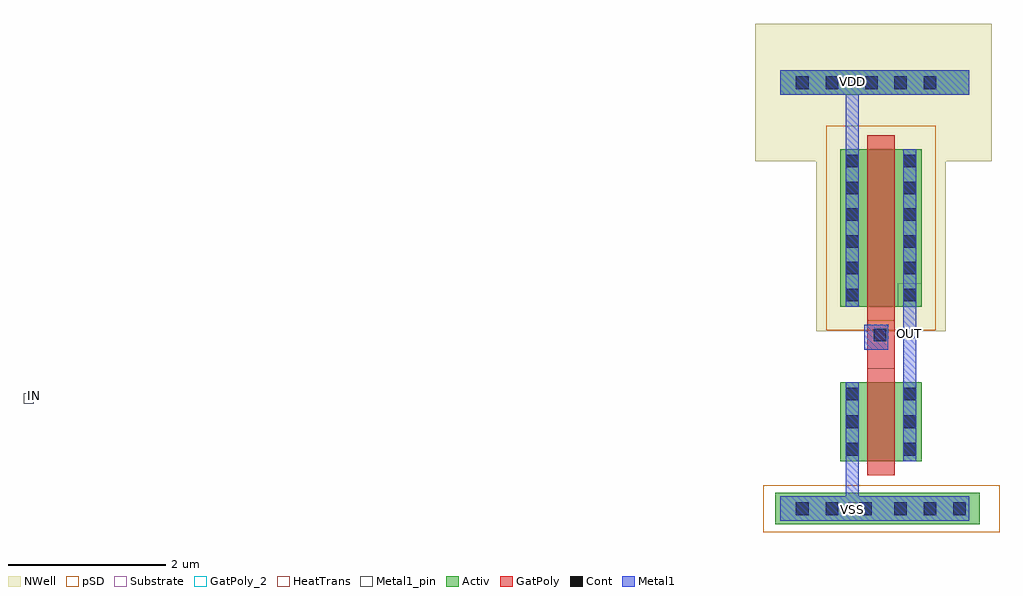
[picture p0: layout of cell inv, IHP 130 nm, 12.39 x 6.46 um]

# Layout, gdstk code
import gdstk
lib = gdstk.Library(unit=1e-6, precision=1e-09)
def R(c, l, rs):  # rectangles x0, y0, x1, y1
    for r in rs: c.add(gdstk.rectangle(r[:2], r[2:], *l))
def A(c, l, x, y, w, h, nx, ny, dx, dy):  # array of equal rectangles
    R(c, l, [(x+i*dx, y+j*dy, x+i*dx+w, y+j*dy+h) for i in range(nx) for j in range(ny)])
Activ = (1, 0)
GatPoly = (5, 0)
GatPoly_2 = (5, 2)
Cont = (6, 0)
Metal1 = (8, 0)
Metal1_pin = (8, 2)
pSD = (14, 0)
NWell = (31, 0)
Substrate = (40, 0)
HeatTrans = (51, 0)

pmos = lib.new_cell('pmos')
R(pmos, Activ, [(0,0,0.3,0.3), (0,0,1.03,2), (0.73,0,1.03,0.3)])
R(pmos, GatPoly, [(0.34,-0.18,0.69,2.18), (0.34,-0.18,0.69,2.18)])
A(pmos, Cont, 0.07, 0.07, 0.16, 0.16, 1, 6, 0, 0.34)
A(pmos, Cont, 0.8, 0.07, 0.16, 0.16, 1, 6, 0, 0.34)
R(pmos, Metal1, [(0.07,0,0.23,2), (0.07,0,0.23,2), (0.8,0,0.96,2), (0.8,0,0.96,2)])
R(pmos, pSD, [(-0.18,-0.3,1.21,2.3)])
R(pmos, NWell, [(-0.31,-0.31,1.34,2.31)])
R(pmos, Substrate, [(0.73,0,1.03,0.3)])
R(pmos, HeatTrans, [(0.34,-0.18,0.69,2.18)])
pmos.add(gdstk.Label('pmos', (0.515,1), layer=63, texttype=0))
pmos.add(gdstk.Label('pmos', (0.515,1), layer=51, texttype=0))

nmos = lib.new_cell('nmos')
R(nmos, Activ, [(0,0,0.3,0.3), (0,0,1.03,1), (0.73,0,1.03,0.3)])
R(nmos, GatPoly, [(0.34,-0.18,0.69,1.18)])
R(nmos, GatPoly_2, [(0.34,-0.18,0.69,1.18)])
A(nmos, Cont, 0.07, 0.07, 0.16, 0.16, 1, 3, 0, 0.35)
A(nmos, Cont, 0.8, 0.07, 0.16, 0.16, 1, 3, 0, 0.35)
R(nmos, Metal1, [(0.07,0,0.23,1), (0.8,0,0.96,1)])
R(nmos, Metal1_pin, [(0.07,0,0.23,1), (0.8,0,0.96,1)])
R(nmos, HeatTrans, [(0.34,-0.18,0.69,1.18)])
nmos.add(gdstk.Label('nmos', (0.515,0.5), layer=63, texttype=0))
nmos.add(gdstk.Label('nmos', (0.515,0.5), layer=51, texttype=0))

inv = lib.new_cell('inv')
R(inv, Activ, [(-1.25,1.89,1.35,2.29), (-1.185,7.345,1.215,7.66)])
R(inv, GatPoly, [(-0.08,3.8,0.27,4.435), (-0.08,4.165,0.27,4.8)])
A(inv, Cont, -0.105, 7.42, 0.16, 0.16, 3, 1, 0.37, 0)
R(inv, Cont, [(-0.985,2.01,-0.825,2.17), (-0.605,2.01,-0.445,2.17), (-0.18,2.01,-0.02,2.17), (0.265,2.01,0.425,2.17), (0.635,2.01,0.795,2.17), (1.01,2.01,1.17,2.17), (0,4.215,0.16,4.375), (-0.985,7.42,-0.825,7.58), (-0.605,7.42,-0.445,7.58)])
R(inv, Metal1, [(-1.185,1.935,1.215,2.25), (-0.35,2.11,-0.19,2.745), (0.38,3.683,0.54,4.663), (-0.12,4.11,0.19,4.425), (-0.35,6.655,-0.19,7.43), (-1.185,7.345,1.215,7.66)])
R(inv, Metal1_pin, [(-0.33,2.045,-0.2,2.175), (-10.795,3.425,-10.665,3.555), (0.395,4.255,0.525,4.385), (-0.33,7.455,-0.2,7.585)])
R(inv, pSD, [(-1.4,1.79,1.6,2.39)])
R(inv, NWell, [(-1.5,6.5,1.5,8.25)])
inv.add(gdstk.Reference(pmos, (-0.42,4.655)))
inv.add(gdstk.Reference(nmos, (-0.42,2.695)))
inv.add(gdstk.Label('IN', (-10.655,3.525), layer=8, texttype=25))
inv.add(gdstk.Label('VDD', (-0.265,7.51), layer=8, texttype=25))
inv.add(gdstk.Label('VSS', (-0.265,2.08), layer=8, texttype=25))
inv.add(gdstk.Label('OUT', (0.46,4.32), layer=8, texttype=25))

lib.write_gds('inv.gds')
